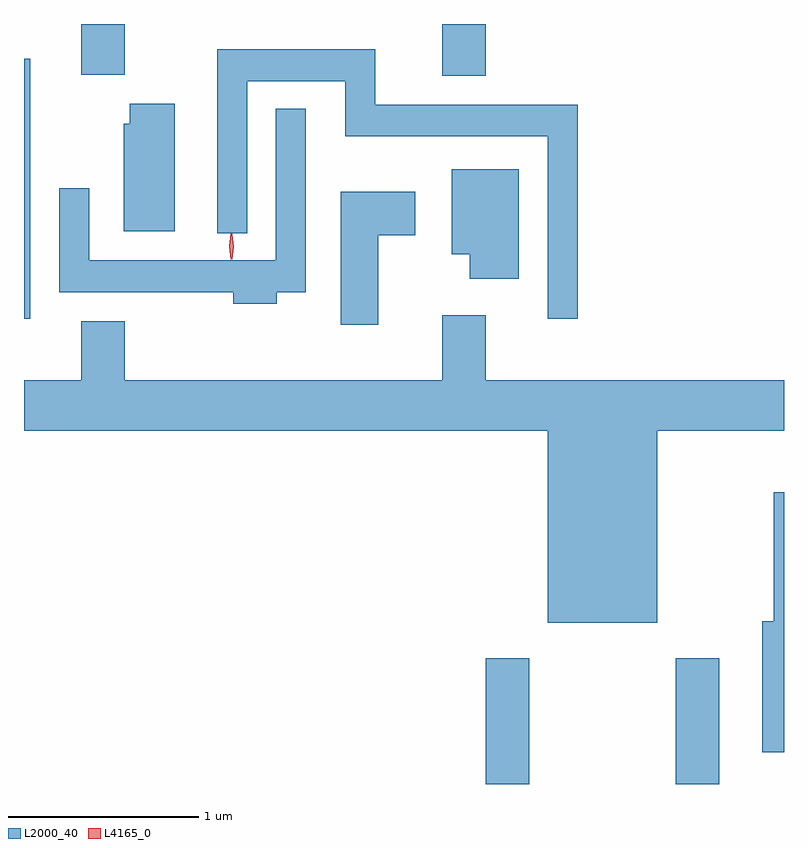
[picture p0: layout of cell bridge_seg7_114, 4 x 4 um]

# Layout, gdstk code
import gdstk
lib = gdstk.Library(unit=1e-6, precision=1e-09)
def R(c, l, rs):  # rectangles x0, y0, x1, y1
    for r in rs: c.add(gdstk.rectangle(r[:2], r[2:], *l))
def P(c, l, *ps):  # polygons
    for p in ps: c.add(gdstk.Polygon(p, *l))
L2000_40 = (2000, 40)
L4165_0 = (4165, 0)

bridge_seg7_114 = lib.new_cell('bridge_seg7_114')
R(bridge_seg7_114, L2000_40, [(1498.481,1759.078,1498.709,1759.739), (1499.481,1759.078,1499.709,1759.739), (1496.05,1761.528,1496.084,1762.894), (1498.251,1762.806,1498.479,1763.078), (1496.351,1762.811,1496.579,1763.078)])
P(bridge_seg7_114, L2000_40, [(1498.964,1762.654),(1497.899,1762.654),(1497.899,1762.944),(1497.066,1762.944),(1497.066,1761.978),(1497.224,1761.978),(1497.224,1762.776),(1497.741,1762.776),(1497.741,1762.486),(1498.806,1762.486),(1498.806,1761.528),(1498.964,1761.528)],
  [(1496.844,1762.659),(1496.606,1762.659),(1496.606,1762.554),(1496.576,1762.554),(1496.576,1761.986),(1496.844,1761.986)],
  [(1497.379,1761.666),(1497.534,1761.666),(1497.534,1762.633),(1497.376,1762.633),(1497.376,1761.834),(1496.394,1761.834),(1496.394,1762.213),(1496.236,1762.213),(1496.236,1761.666),(1497.151,1761.666),(1497.151,1761.606),(1497.379,1761.606)],
  [(1498.654,1762.314),(1498.301,1762.314),(1498.301,1761.866),(1498.396,1761.866),(1498.396,1761.736),(1498.654,1761.736)],
  [(1497.914,1761.966),(1498.109,1761.966),(1498.109,1762.194),(1497.716,1762.194),(1497.716,1761.496),(1497.914,1761.496)],
  [(1499.384,1760.936),(1500.05,1760.936),(1500.05,1761.204),(1498.479,1761.204),(1498.479,1761.544),(1498.251,1761.544),(1498.251,1761.204),(1496.579,1761.204),(1496.579,1761.514),(1496.351,1761.514),(1496.351,1761.204),(1496.05,1761.204),(1496.05,1760.936),(1498.806,1760.936),(1498.806,1759.926),(1499.384,1759.926)],
  [(1500.05,1760.613),(1499.996,1760.613),(1499.996,1759.934),(1499.936,1759.934),(1499.936,1759.246),(1500.05,1759.246)])
P(bridge_seg7_114, L4165_0, [(1497.138,1761.837),(1497.138,1761.838),(1497.129,1761.907),(1497.139,1761.976),(1497.139,1761.976),(1497.14,1761.976),(1497.149,1761.907),(1497.139,1761.838)],
  [(1497.145,1761.839),(1497.144,1761.84),(1497.135,1761.906),(1497.144,1761.972),(1497.145,1761.973),(1497.146,1761.972),(1497.155,1761.906),(1497.146,1761.84)])

lib.write_gds('bridge_seg7_114.gds')
